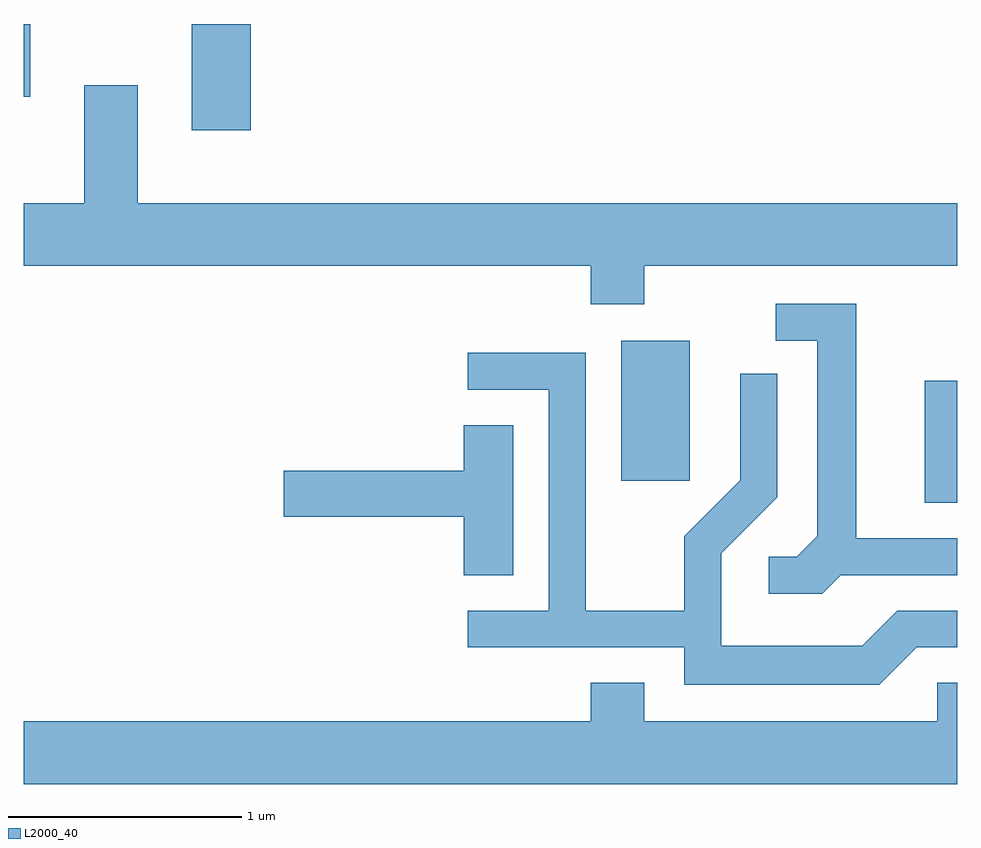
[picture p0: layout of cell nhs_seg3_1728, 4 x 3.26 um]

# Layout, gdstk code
import gdstk
lib = gdstk.Library(unit=1e-6, precision=1e-09)
def R(c, l, rs):  # rectangles x0, y0, x1, y1
    for r in rs: c.add(gdstk.rectangle(r[:2], r[2:], *l))
def P(c, l, *ps):  # polygons
    for p in ps: c.add(gdstk.Polygon(p, *l))
L2000_40 = (2000, 40)

nhs_seg3_1728 = lib.new_cell('nhs_seg3_1728')
R(nhs_seg3_1728, L2000_40, [(239.471,1173.841,239.611,1174.364), (238.171,1173.936,238.464,1174.534), (236.331,1175.436,236.584,1175.892), (235.611,1175.581,235.639,1175.892)])
P(nhs_seg3_1728, L2000_40, [(238.269,1174.856),(239.611,1174.856),(239.611,1175.124),(236.099,1175.124),(236.099,1175.629),(235.871,1175.629),(235.871,1175.124),(235.611,1175.124),(235.611,1174.856),(238.041,1174.856),(238.041,1174.691),(238.269,1174.691)],
  [(239.112,1173.531),(239.611,1173.531),(239.611,1173.689),(239.179,1173.689),(239.179,1174.694),(238.833,1174.694),(238.833,1174.536),(239.011,1174.536),(239.011,1173.697),(238.924,1173.609),(238.803,1173.609),(238.803,1173.451),(239.032,1173.451)],
  [(239.437,1173.221),(239.611,1173.221),(239.611,1173.379),(239.354,1173.379),(239.204,1173.229),(238.599,1173.229),(238.599,1173.624),(238.839,1173.864),(238.839,1174.393),(238.681,1174.393),(238.681,1173.937),(238.441,1173.697),(238.441,1173.379),(238.019,1173.379),(238.019,1174.484),(237.513,1174.484),(237.513,1174.326),(237.861,1174.326),(237.861,1173.379),(237.513,1173.379),(237.513,1173.221),(238.441,1173.221),(238.441,1173.061),(239.277,1173.061)],
  [(237.709,1174.174),(237.496,1174.174),(237.496,1173.979),(236.726,1173.979),(236.726,1173.781),(237.496,1173.781),(237.496,1173.531),(237.709,1173.531)],
  [(239.611,1173.069),(239.526,1173.069),(239.526,1172.904),(238.269,1172.904),(238.269,1173.069),(238.041,1173.069),(238.041,1172.904),(235.611,1172.904),(235.611,1172.636),(239.611,1172.636)])

lib.write_gds('nhs_seg3_1728.gds')
